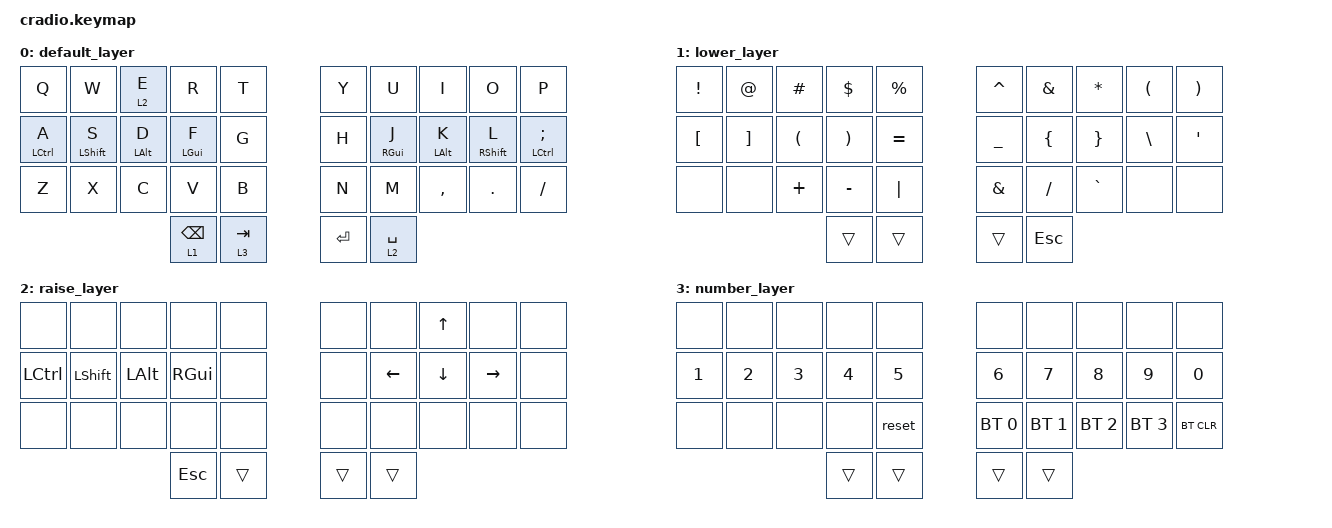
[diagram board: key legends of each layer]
/*
  * Copyright (c) 2020 The ZMK Contributors
  *
  * SPDX-License-Identifier: MIT
  */

 #include <behaviors.dtsi>
 #include <dt-bindings/zmk/keys.h>
 #include <dt-bindings/zmk/bt.h>

 / {
        behaviors {
                hm: homerow_mods {
                    compatible = "zmk,behavior-hold-tap";
                    label = "HOMEROW_MODS";
                    #binding-cells = <2>;
                    tapping-term-ms = <200>;
                    quick_tap_ms = <0>;
                    flavor = "tap-preferred";
                    bindings = <&kp>, <&kp>;
                };
        };
         keymap {
                 compatible = "zmk,keymap";

                 default_layer {
                         bindings = <
    &kp Q       &kp W       &lt 2 E      &kp R      &kp T      &kp Y &kp U      &kp I      &kp O       &kp P
    &hm LCTRL A &hm LSHFT S &hm LALT D &hm LGUI F &kp G      &kp H &hm RGUI J &hm LALT K &hm RSHFT L &hm LCTRL SEMI
    &kp Z       &kp X       &kp C      &kp V      &kp B      &kp N &kp M      &kp COMMA  &kp DOT     &kp FSLH
                                              &lt 1 BSPC &lt 3 TAB      &kp RET &lt 2 SPACE
                         >;
                 };
                 lower_layer {
                         bindings = <
    &kp EXCL &kp AT   &kp HASH &kp DLLR  &kp PRCNT      &kp CARET &kp AMPS &kp STAR  &kp LPAR  &kp RPAR 
    &kp LBKT &kp RBKT &kp LPAR &kp RPAR  &kp EQUAL      &kp UNDER &kp LBRC &kp RBRC  &kp BSLH  &kp SQT  
    &none   &none   &kp PLUS &kp MINUS &kp PIPE       &kp AMPS  &kp FSLH &kp GRAVE &none    &none  
                           	        &trans     &trans      &trans  &kp ESC  
                         >;
                 };

                 raise_layer {
                         bindings = <
    &none     &none      &none     &none    &none          &none  &none     &kp UP   &none     &none
    &kp LCTRL &kp LSHIFT &kp LALT  &kp RGUI &none          &none  &kp LEFT  &kp DOWN &kp RIGHT &none 
    &none     &none      &none     &none    &none          &none  &none     &none    &none     &none
                     	             &kp ESC   &trans         &trans   &trans
                         >;
                 };
                 
                 number_layer {
                         bindings = <
    &none  &none  &none  &none  &none          &none        &none        &none        &none        &none      
    &kp N1 &kp N2 &kp N3 &kp N4 &kp N5         &kp N6       &kp N7       &kp N8       &kp N9       &kp N0     
    &none  &none  &none  &none  &reset         &bt BT_SEL 0 &bt BT_SEL 1 &bt BT_SEL 2 &bt BT_SEL 3 &bt BT_CLR
                    &trans       &trans      &trans  &trans
                         >;
                 };
         };
 };
